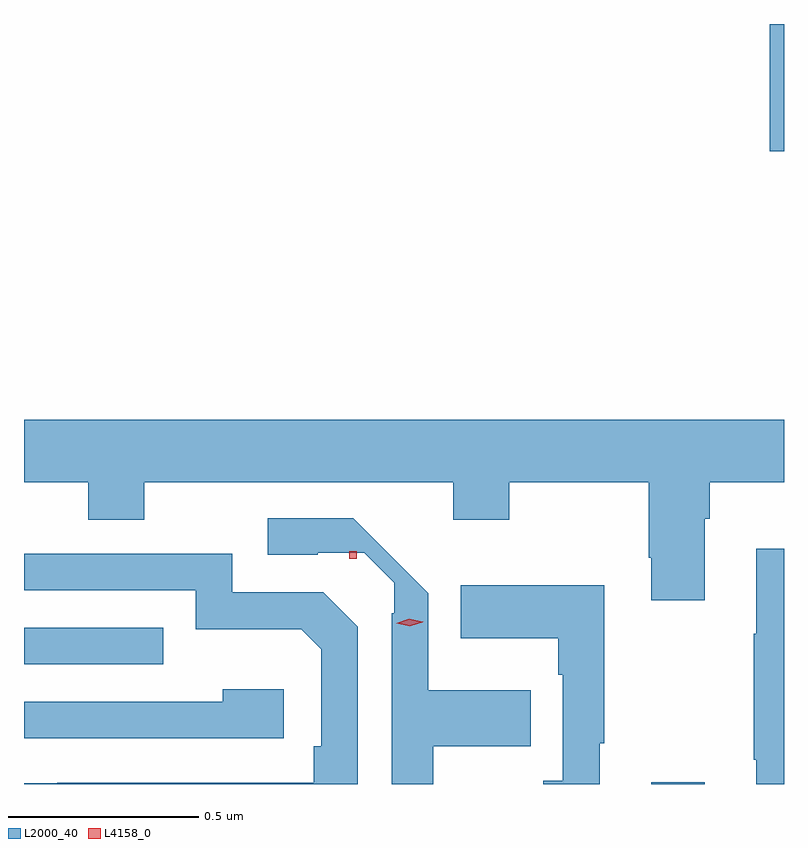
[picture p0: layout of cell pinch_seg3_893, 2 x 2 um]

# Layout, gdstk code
import gdstk
lib = gdstk.Library(unit=1e-6, precision=1e-09)
def R(c, l, rs):  # rectangles x0, y0, x1, y1
    for r in rs: c.add(gdstk.rectangle(r[:2], r[2:], *l))
def P(c, l, *ps):  # polygons
    for p in ps: c.add(gdstk.Polygon(p, *l))
L2000_40 = (2000, 40)
L4158_0 = (4158, 0)

pinch_seg3_893 = lib.new_cell('pinch_seg3_893')
R(pinch_seg3_893, L2000_40, [(732.041,666.822,732.181,666.826), (730.39,667.137,730.757,667.233), (732.353,668.487,732.39,668.822)])
P(pinch_seg3_893, L2000_40, [(732.181,667.52),(732.194,667.52),(732.194,667.616),(732.39,667.616),(732.39,667.78),(730.39,667.78),(730.39,667.616),(730.559,667.616),(730.559,667.517),(730.707,667.517),(730.707,667.616),(731.519,667.616),(731.519,667.517),(731.667,667.517),(731.667,667.616),(732.034,667.616),(732.034,667.417),(732.041,667.417),(732.041,667.305),(732.181,667.305)],
  [(731.467,666.922),(731.723,666.922),(731.723,667.069),(731.454,667.069),(731.454,667.324),(731.257,667.521),(731.031,667.521),(731.031,667.425),(731.163,667.425),(731.163,667.431),(731.285,667.431),(731.364,667.352),(731.364,667.271),(731.358,667.271),(731.358,666.822),(731.467,666.822)],
  [(732.39,667.441),(732.317,667.441),(732.317,667.217),(732.31,667.217),(732.31,666.886),(732.317,666.886),(732.317,666.822),(732.39,666.822)],
  [(731.268,667.236),(731.178,667.326),(730.938,667.326),(730.938,667.428),(730.39,667.428),(730.39,667.332),(730.842,667.332),(730.842,667.229),(731.119,667.229),(731.172,667.176),(731.172,666.922),(731.152,666.922),(731.152,666.825),(730.477,666.825),(730.477,666.824),(730.39,666.824),(730.39,666.822),(731.268,666.822)],
  [(731.905,666.929),(731.917,666.929),(731.917,667.345),(731.539,667.345),(731.539,667.205),(731.796,667.205),(731.796,667.109),(731.808,667.109),(731.808,666.83),(731.757,666.83),(731.757,666.822),(731.905,666.822)],
  [(731.074,667.072),(730.913,667.072),(730.913,667.038),(730.39,667.038),(730.39,666.942),(731.074,666.942)])
R(pinch_seg3_893, L4158_0, [(731.246,667.415,731.266,667.435)])
P(pinch_seg3_893, L4158_0, [(731.405,667.237),(731.369,667.245),(731.369,667.245),(731.369,667.245),(731.404,667.257),(731.439,667.249),(731.44,667.249),(731.439,667.248)])

lib.write_gds('pinch_seg3_893.gds')
